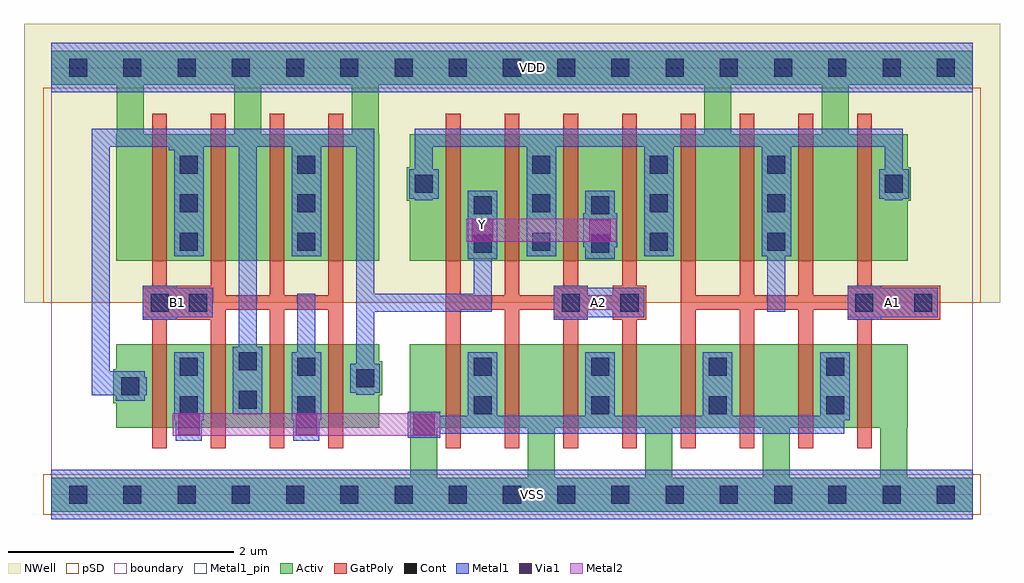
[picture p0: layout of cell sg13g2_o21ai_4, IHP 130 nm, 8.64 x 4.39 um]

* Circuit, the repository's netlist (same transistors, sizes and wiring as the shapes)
.SUBCKT sg13g2_o21ai_4 Y A1 A2 B1 VDD VSS
*.PININFO A1:I A2:I B1:I Y:O VDD:B VSS:B
MP0 net14 A1 VDD VDD sg13_lv_pmos w=4.48u l=130.00n ng=4
MP1 Y A2 net14 VDD sg13_lv_pmos w=4.48u l=130.00n ng=4
MP2 Y B1 VDD VDD sg13_lv_pmos w=4.48u l=130.00n ng=4
MN0 net1 A2 VSS VSS sg13_lv_nmos w=2.96u l=130.00n ng=4
MN2 net1 A1 VSS VSS sg13_lv_nmos w=2.96u l=130.00n ng=4
MN1 Y B1 net1 VSS sg13_lv_nmos w=2.96u l=130.00n ng=4
.ENDS

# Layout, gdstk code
import gdstk
lib = gdstk.Library(unit=1e-6, precision=1e-09)
def R(c, l, rs):  # rectangles x0, y0, x1, y1
    for r in rs: c.add(gdstk.rectangle(r[:2], r[2:], *l))
def A(c, l, x, y, w, h, nx, ny, dx, dy):  # array of equal rectangles
    R(c, l, [(x+i*dx, y+j*dy, x+i*dx+w, y+j*dy+h) for i in range(nx) for j in range(ny)])
def P(c, l, *ps):  # polygons
    for p in ps: c.add(gdstk.Polygon(p, *l))
Activ = (1, 0)
GatPoly = (5, 0)
Cont = (6, 0)
Metal1 = (8, 0)
Metal1_pin = (8, 2)
Metal2 = (10, 0)
pSD = (14, 0)
Via1 = (19, 0)
NWell = (31, 0)
boundary = (189, 4)

sg13g2_o21ai_4 = lib.new_cell('sg13g2_o21ai_4')
P(sg13g2_o21ai_4, Activ, [(3.18,0.15),(0,0.15),(0,-0.15),(8.16,-0.15),(8.16,0.15),(3.18,0.15),(3.42,0.15),(3.42,0.59),(4.22,0.59),(4.22,0.15),(4.46,0.15),(4.46,0.59),(5.26,0.59),(5.26,0.15),(5.5,0.15),(5.5,0.59),(6.3,0.59),(6.3,0.15),(6.54,0.15),(6.54,0.59),(7.34,0.59),(7.34,0.15),(7.58,0.15),(7.58,0.59),(7.585,0.59),(7.585,1.33),(3.175,1.33),(3.175,0.59),(3.18,0.59)],
  [(6.02,3.63),(6.02,3.93),(1.86,3.93),(1.86,3.63),(1.86,3.93),(0.82,3.93),(0.82,3.63),(0.82,3.93),(0,3.93),(0,3.63),(0.58,3.63),(0.58,3.19),(0.575,3.19),(0.575,2.07),(0.82,2.07),(0.82,3.63),(1.62,3.63),(1.62,3.19),(0.82,3.19),(0.82,2.07),(1.86,2.07),(1.86,3.63),(2.66,3.63),(2.66,3.19),(1.86,3.19),(1.86,2.07),(2.905,2.07),(2.905,3.19),(2.9,3.19),(2.9,3.63),(5.78,3.63),(5.78,3.19),(3.175,3.19),(3.175,2.9),(3.15,2.9),(3.15,2.6),(3.175,2.6),(3.175,2.07),(6.02,2.07),(6.02,3.63),(6.82,3.63),(6.82,3.19),(6.02,3.19),(6.02,2.07),(7.585,2.07),(7.585,2.6),(7.61,2.6),(7.61,2.9),(7.585,2.9),(7.585,3.19),(7.06,3.19),(7.06,3.63),(8.16,3.63),(8.16,3.93),(6.02,3.93)],
  [(0.55,0.81),(0.575,0.81),(0.575,0.59),(2.905,0.59),(2.905,0.88),(2.93,0.88),(2.93,1.18),(2.905,1.18),(2.905,1.33),(0.575,1.33),(0.575,1.11),(0.55,1.11)])
P(sg13g2_o21ai_4, GatPoly, [(0.81,1.55),(0.895,1.55),(0.895,0.41),(1.025,0.41),(1.025,1.55),(1.415,1.55),(1.415,0.41),(1.545,0.41),(1.545,1.635),(1.935,1.635),(1.935,0.41),(2.065,0.41),(2.065,1.635),(2.455,1.635),(2.455,0.41),(2.585,0.41),(2.585,3.37),(2.455,3.37),(2.455,1.765),(2.065,1.765),(2.065,3.37),(1.935,3.37),(1.935,1.765),(1.545,1.765),(1.545,3.37),(1.415,3.37),(1.415,1.85),(1.025,1.85),(1.025,3.37),(0.895,3.37),(0.895,1.85),(0.81,1.85)],
  [(3.495,0.41),(3.625,0.41),(3.625,1.635),(4.015,1.635),(4.015,0.41),(4.145,0.41),(4.145,1.635),(4.45,1.635),(4.45,1.55),(4.535,1.55),(4.535,0.41),(4.665,0.41),(4.665,1.55),(4.75,1.55),(4.75,1.635),(4.97,1.635),(4.97,1.55),(5.055,1.55),(5.055,0.41),(5.185,0.41),(5.185,1.55),(5.27,1.55),(5.27,1.85),(5.185,1.85),(5.185,3.37),(5.055,3.37),(5.055,1.85),(4.97,1.85),(4.97,1.765),(4.75,1.765),(4.75,1.85),(4.665,1.85),(4.665,3.37),(4.535,3.37),(4.535,1.85),(4.45,1.85),(4.45,1.765),(4.145,1.765),(4.145,3.37),(4.015,3.37),(4.015,1.765),(3.625,1.765),(3.625,3.37),(3.495,3.37)],
  [(5.575,0.41),(5.705,0.41),(5.705,1.635),(6.095,1.635),(6.095,0.41),(6.225,0.41),(6.225,1.635),(6.615,1.635),(6.615,0.41),(6.745,0.41),(6.745,1.635),(7.05,1.635),(7.05,1.55),(7.135,1.55),(7.135,0.41),(7.265,0.41),(7.265,1.55),(7.87,1.55),(7.87,1.85),(7.265,1.85),(7.265,3.37),(7.135,3.37),(7.135,1.85),(7.05,1.85),(7.05,1.765),(6.745,1.765),(6.745,3.37),(6.615,3.37),(6.615,1.765),(6.225,1.765),(6.225,3.37),(6.095,3.37),(6.095,1.765),(5.705,1.765),(5.705,3.37),(5.575,3.37)])
A(sg13g2_o21ai_4, Cont, 0.16, -0.08, 0.16, 0.16, 17, 2, 0.48, 3.78)
A(sg13g2_o21ai_4, Cont, 3.74, 0.71, 0.16, 0.16, 4, 2, 1.04, 0.34)
A(sg13g2_o21ai_4, Cont, 1.14, 2.16, 0.16, 0.16, 1, 3, 0, 0.34)
A(sg13g2_o21ai_4, Cont, 2.18, 2.16, 0.16, 0.16, 1, 3, 0, 0.34)
A(sg13g2_o21ai_4, Cont, 4.26, 2.16, 0.16, 0.16, 3, 3, 1.04, 0.34)
R(sg13g2_o21ai_4, Cont, [(1.14,0.71,1.3,0.87), (2.18,0.71,2.34,0.87), (1.66,0.76,1.82,0.92), (0.62,0.88,0.78,1.04), (2.7,0.95,2.86,1.11), (1.14,1.05,1.3,1.21), (2.18,1.05,2.34,1.21), (1.66,1.1,1.82,1.26), (0.88,1.62,1.04,1.78), (1.22,1.62,1.38,1.78), (4.52,1.62,4.68,1.78), (5.04,1.62,5.2,1.78), (7.12,1.62,7.28,1.78), (7.64,1.62,7.8,1.78), (3.74,2.14,3.9,2.3), (4.78,2.14,4.94,2.3), (3.74,2.48,3.9,2.64), (4.78,2.48,4.94,2.64), (3.22,2.67,3.38,2.83), (7.38,2.67,7.54,2.83)])
R(sg13g2_o21ai_4, Metal1, [(0,-0.22,8.16,0.22), (0,3.56,8.16,4)])
P(sg13g2_o21ai_4, Metal1, [(0.36,0.88),(0.57,0.88),(0.57,0.83),(0.83,0.83),(0.83,0.88),(0.845,0.88),(0.845,1.04),(0.83,1.04),(0.83,1.09),(0.52,1.09),(0.52,3.08),(1.04,3.08),(1.04,3.05),(1.09,3.05),(1.09,2.11),(1.35,2.11),(1.35,3.08),(1.66,3.08),(1.66,1.31),(1.61,1.31),(1.61,0.71),(1.87,0.71),(1.87,1.31),(1.82,1.31),(1.82,3.08),(2.13,3.08),(2.13,2.11),(2.39,2.11),(2.39,3.08),(2.7,3.08),(2.7,1.16),(2.65,1.16),(2.65,0.9),(2.7,0.9),(2.7,0.885),(2.86,0.885),(2.86,0.9),(2.91,0.9),(2.91,1.16),(2.86,1.16),(2.86,1.62),(3.9,1.62),(3.9,2.09),(3.95,2.09),(3.95,2.69),(3.69,2.69),(3.69,2.09),(3.74,2.09),(3.74,1.78),(2.86,1.78),(2.86,3.24),(0.36,3.24)],
  [(0.81,1.55),(1.11,1.55),(1.11,1.57),(1.43,1.57),(1.43,1.83),(1.11,1.83),(1.11,1.85),(0.81,1.85)],
  [(1.09,0.66),(1.105,0.66),(1.105,0.475),(1.335,0.475),(1.335,0.66),(1.35,0.66),(1.35,1.26),(1.09,1.26)],
  [(2.13,0.66),(2.145,0.66),(2.145,0.475),(2.375,0.475),(2.375,0.66),(2.39,0.66),(2.39,1.26),(2.34,1.26),(2.34,1.78),(2.18,1.78),(2.18,1.26),(2.13,1.26)],
  [(3.155,0.505),(3.445,0.505),(3.445,0.54),(7.02,0.54),(7.02,0.66),(7.07,0.66),(7.07,1.26),(6.81,1.26),(6.81,0.7),(6.03,0.7),(6.03,1.26),(5.77,1.26),(5.77,0.7),(4.99,0.7),(4.99,1.26),(4.73,1.26),(4.73,0.7),(3.95,0.7),(3.95,1.26),(3.69,1.26),(3.69,0.7),(3.445,0.7),(3.445,0.735),(3.155,0.735)],
  [(3.17,2.62),(3.22,2.62),(3.22,2.605),(3.38,2.605),(3.38,2.62),(3.43,2.62),(3.43,2.88),(3.38,2.88),(3.38,3.08),(4.21,3.08),(4.21,2.11),(4.47,2.11),(4.47,3.08),(5.25,3.08),(5.25,2.11),(5.51,2.11),(5.51,3.08),(6.29,3.08),(6.29,2.11),(6.34,2.11),(6.34,1.62),(6.5,1.62),(6.5,2.11),(6.55,2.11),(6.55,3.08),(7.38,3.08),(7.38,2.88),(7.33,2.88),(7.33,2.62),(7.38,2.62),(7.38,2.605),(7.54,2.605),(7.54,2.62),(7.59,2.62),(7.59,2.88),(7.54,2.88),(7.54,3.24),(3.22,3.24),(3.22,2.88),(3.17,2.88)],
  [(4.45,1.55),(4.75,1.55),(4.75,1.57),(5.25,1.57),(5.25,1.83),(4.75,1.83),(4.75,1.85),(4.45,1.85)],
  [(4.71,2.19),(4.73,2.19),(4.73,2.09),(4.99,2.09),(4.99,2.19),(5.01,2.19),(5.01,2.49),(4.99,2.49),(4.99,2.69),(4.73,2.69),(4.73,2.49),(4.71,2.49)],
  [(7.05,1.55),(7.35,1.55),(7.35,1.57),(7.85,1.57),(7.85,1.83),(7.35,1.83),(7.35,1.85),(7.05,1.85)])
R(sg13g2_o21ai_4, Metal1_pin, [(0,-0.22,8.16,0.22), (0.81,1.57,1.43,1.83), (4.45,1.57,5.25,1.83), (7.05,1.57,7.85,1.83), (3.69,2.09,3.95,2.69), (0,3.56,8.16,4)])
R(sg13g2_o21ai_4, Metal2, [(1.075,0.52,3.445,0.72), (3.675,2.24,5.005,2.44)])
R(sg13g2_o21ai_4, pSD, [(-0.07,-0.18,8.23,0.18), (-0.07,1.7,8.23,3.6)])
A(sg13g2_o21ai_4, Via1, 1.125, 0.525, 0.19, 0.19, 3, 1, 1.04, 0)
R(sg13g2_o21ai_4, Via1, [(3.725,2.245,3.915,2.435), (4.765,2.245,4.955,2.435)])
R(sg13g2_o21ai_4, NWell, [(-0.24,1.7,8.4,4.17)])
R(sg13g2_o21ai_4, boundary, [(0,0,8.16,3.78)])
sg13g2_o21ai_4.add(gdstk.Label('Y', (3.82,2.39), layer=8, texttype=25))
sg13g2_o21ai_4.add(gdstk.Label('B1', (1.12,1.7), layer=8, texttype=25))
sg13g2_o21ai_4.add(gdstk.Label('A2', (4.85,1.7), layer=8, texttype=25))
sg13g2_o21ai_4.add(gdstk.Label('A1', (7.45,1.7), layer=8, texttype=25))
sg13g2_o21ai_4.add(gdstk.Label('VSS', (4.26,0), layer=8, texttype=25))
sg13g2_o21ai_4.add(gdstk.Label('VDD', (4.26,3.78), layer=8, texttype=25))

lib.write_gds('sg13g2_o21ai_4.gds')
